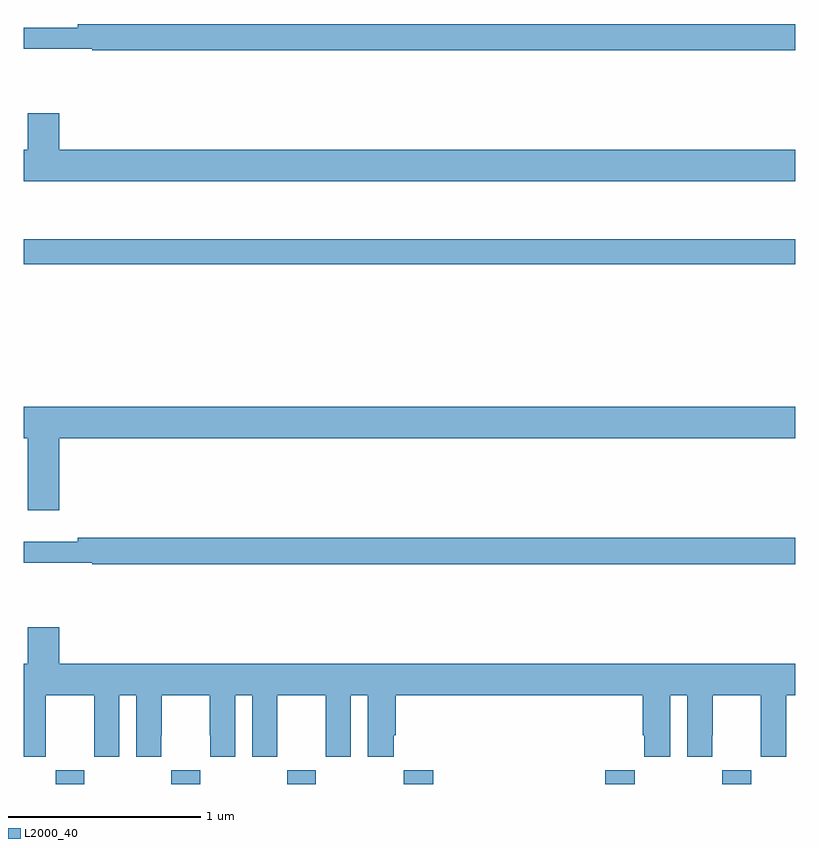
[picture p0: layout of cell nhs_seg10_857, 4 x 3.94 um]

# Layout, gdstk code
import gdstk
lib = gdstk.Library(unit=1e-6, precision=1e-09)
def R(c, l, rs):  # rectangles x0, y0, x1, y1
    for r in rs: c.add(gdstk.rectangle(r[:2], r[2:], *l))
def A(c, l, x, y, w, h, nx, ny, dx, dy):  # array of equal rectangles
    R(c, l, [(x+i*dx, y+j*dy, x+i*dx+w, y+j*dy+h) for i in range(nx) for j in range(ny)])
def P(c, l, *ps):  # polygons
    for p in ps: c.add(gdstk.Polygon(p, *l))
L2000_40 = (2000, 40)

nhs_seg10_857 = lib.new_cell('nhs_seg10_857')
A(nhs_seg10_857, L2000_40, 153.165, 1322.5, 0.15, 0.072, 3, 1, 0.6, 0)
R(nhs_seg10_857, L2000_40, [(154.969,1322.5,155.123,1322.572), (156.014,1322.5,156.167,1322.572), (156.621,1322.5,156.771,1322.572), (153,1325.194,157,1325.323)])
P(nhs_seg10_857, L2000_40, [(157,1326.44),(153.28,1326.44),(153.28,1326.421),(153,1326.421),(153,1326.312),(153.355,1326.312),(153.355,1326.304),(157,1326.304)],
  [(157,1325.788),(153.184,1325.788),(153.184,1325.977),(153.02,1325.977),(153.02,1325.788),(153,1325.788),(153,1325.624),(157,1325.624)],
  [(153.184,1324.292),(157,1324.292),(157,1324.456),(153,1324.456),(153,1324.292),(153.02,1324.292),(153.02,1323.918),(153.184,1323.918)],
  [(157,1323.776),(153.28,1323.776),(153.28,1323.757),(153,1323.757),(153,1323.648),(153.355,1323.648),(153.355,1323.64),(157,1323.64)],
  [(153.184,1323.313),(153.02,1323.313),(153.02,1323.124),(153,1323.124),(153,1322.64),(153.114,1322.64),(153.114,1322.752),(153.115,1322.752),(153.115,1322.96),(153.365,1322.96),(153.365,1322.752),(153.366,1322.752),(153.366,1322.64),(153.496,1322.64),(153.496,1322.96),(153.584,1322.96),(153.584,1322.64),(153.714,1322.64),(153.714,1322.752),(153.715,1322.752),(153.715,1322.96),(153.965,1322.96),(153.965,1322.752),(153.966,1322.752),(153.966,1322.64),(154.096,1322.64),(154.096,1322.96),(154.184,1322.96),(154.184,1322.64),(154.314,1322.64),(154.314,1322.752),(154.315,1322.752),(154.315,1322.96),(154.565,1322.96),(154.565,1322.752),(154.566,1322.752),(154.566,1322.64),(154.696,1322.64),(154.696,1322.96),(154.784,1322.96),(154.784,1322.64),(154.918,1322.64),(154.918,1322.752),(154.928,1322.752),(154.928,1322.96),(156.209,1322.96),(156.209,1322.752),(156.218,1322.752),(156.218,1322.64),(156.352,1322.64),(156.352,1322.96),(156.44,1322.96),(156.44,1322.64),(156.57,1322.64),(156.57,1322.752),(156.571,1322.752),(156.571,1322.96),(156.821,1322.96),(156.821,1322.752),(156.822,1322.752),(156.822,1322.64),(156.952,1322.64),(156.952,1322.96),(157,1322.96),(157,1323.124),(153.184,1323.124)])

lib.write_gds('nhs_seg10_857.gds')
